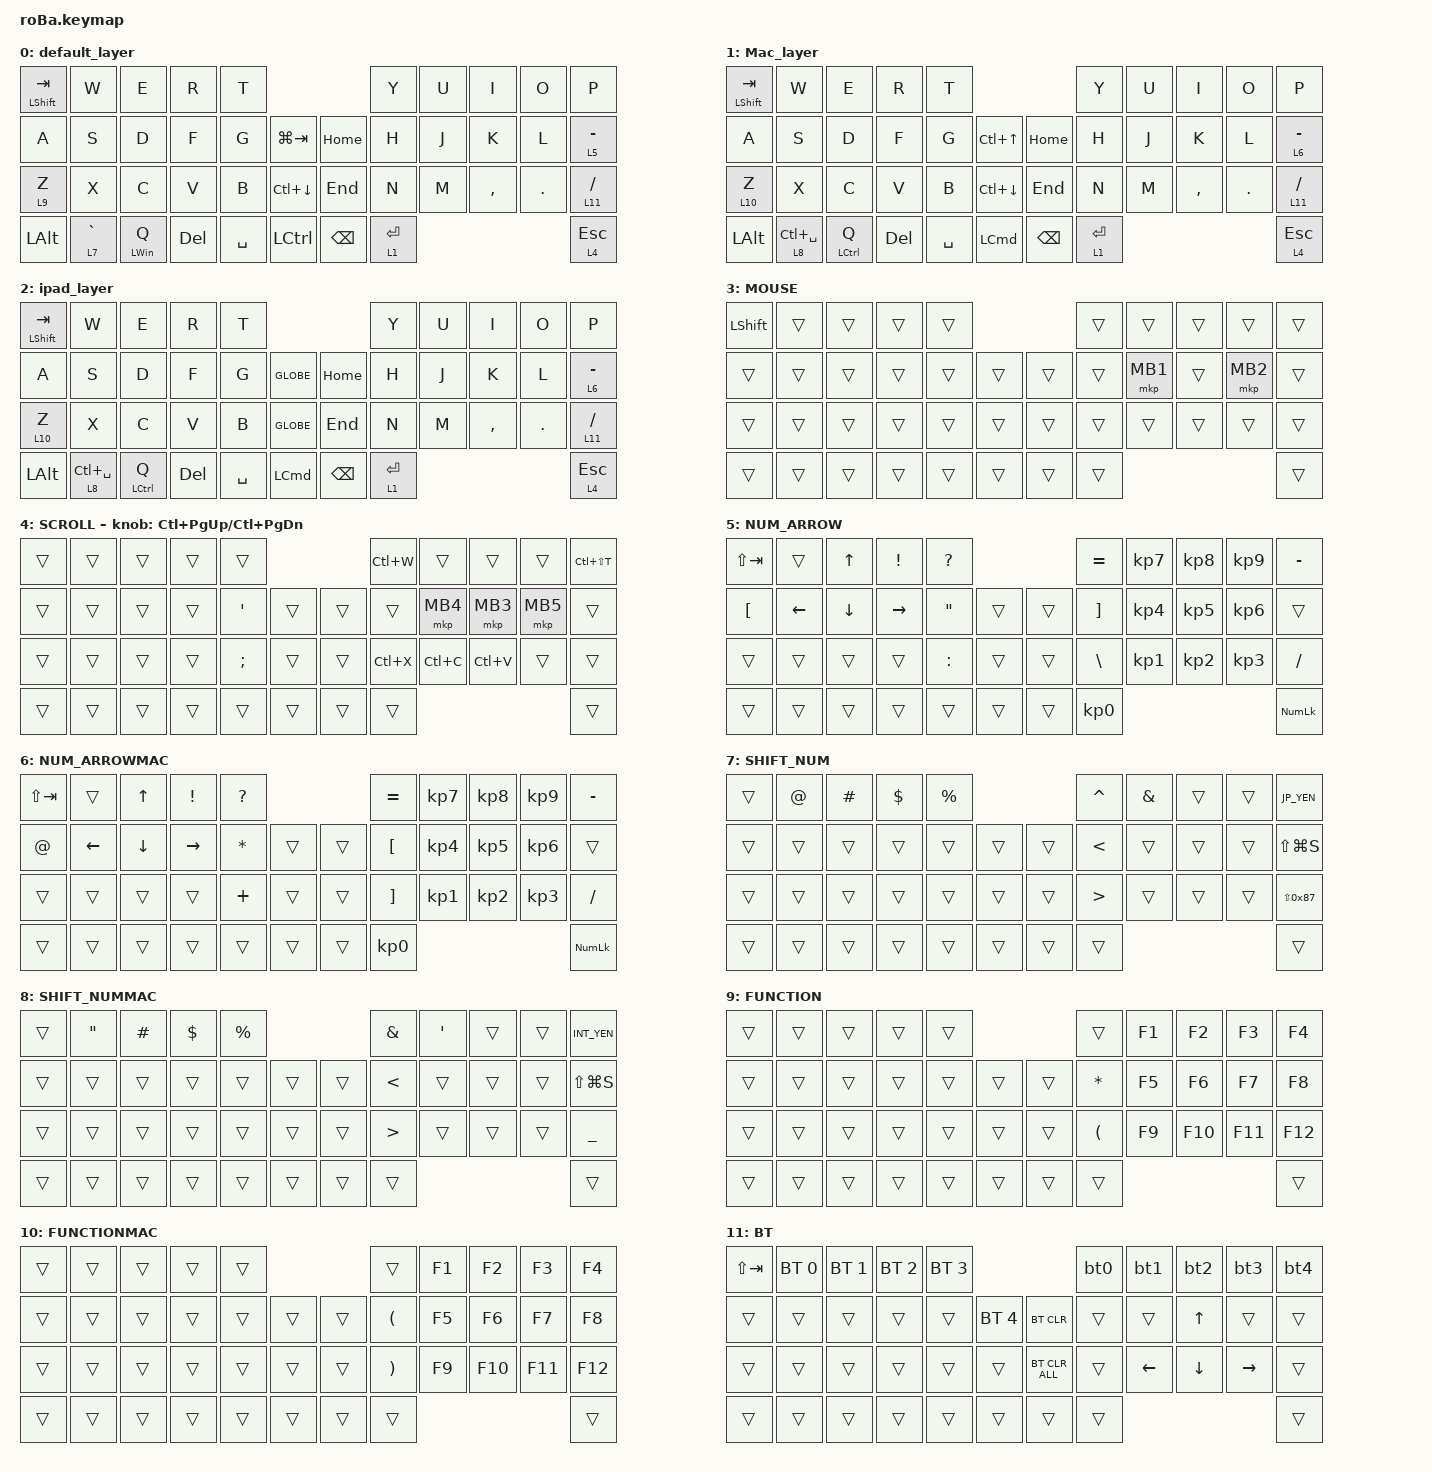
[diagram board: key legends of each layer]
#include <behaviors.dtsi>
#include <dt-bindings/zmk/bt.h>
#include <dt-bindings/zmk/keys.h>
#include <dt-bindings/zmk/pointing.h>

#define MOUSE 3
#define SCROLL 4
#define NUM 5

// OS設定を日本語キーボードのまま使用するための変換定義

#define JP_DQUOTE       AT                // "
#define JP_AMPERSAND    CARET             // &
#define JP_QUOTE        AMPERSAND         // '
#define JP_EQUAL        UNDER             // =
#define JP_CARET        EQUAL             // ^
#define JP_YEN          0x89              // ¥
#define JP_PLUS         COLON             // +
#define JP_TILDE        PLUS              // ~
#define JP_PIPE         LS(0x89)          // |
#define JP_AT           LEFT_BRACKET      // @
#define JP_COLON        SINGLE_QUOTE      // :
#define BOT_ASTERISK    DOUBLE_QUOTES     // *
#define JP_BACKQUOTE    LEFT_BRACE        // `
#define JP_UNDERBAR     LS(0x87)          // _
#define JP_LBRACKET     RIGHT_BRACKET     // [
#define JP_RBRACKET     BACKSLASH         // ]
#define JP_LPAREN       ASTERISK          // (
#define JP_RPAREN       LEFT_PARENTHESIS  // )
#define JP_LBRACE       RIGHT_BRACE       // {
#define JP_RBRACE       PIPE              // }
#define JP_KANA         LANGUAGE_1        // かな
#define JP_EISU         LANGUAGE_2        // 英数
#define JP_HANZEN       GRAVE             // 半角/全角

&mt {
    flavor = "balanced";
    quick-tap-ms = <0>;
};

/ {
    combos {
        compatible = "zmk,combos";

        tab {
            bindings = <&kp TAB>;
            key-positions = <11 12>;
        };

        shift_tab {
            bindings = <&kp LS(TAB)>;
            key-positions = <12 13>;
        };

        muhennkann {
            bindings = <&bt0 INT_MUHENKAN>;
            key-positions = <11 10>;
        };

        double_quotation {
            bindings = <&kp DOUBLE_QUOTES>;
            key-positions = <20 21>;
        };

        eq {
            bindings = <&kp EQUAL>;
            key-positions = <24 25>;
        };
    };

    macros {
        // Windows用

        bt0: bt0 {
            compatible = "zmk,behavior-macro";
            #binding-cells = <0>;
            bindings =
                <&tog_off 1 &tog_off 2>,
                <&macro_wait_time 200>,
                <&bt BT_SEL 0>,
                <&macro_wait_time 500>;
            label = "BT0";
        };

        // Mac用

        bt4: bt4 {
            compatible = "zmk,behavior-macro";
            #binding-cells = <0>;
            bindings =
                <&tog_off 1 &tog_off 2>,
                <&macro_wait_time 200>,
                <&bt BT_SEL 4>,
                <&macro_wait_time 500>,
                <&tog_on 1>;
            label = "BT4";
        };

        // iPad or iPhone用

        bt3: bt3 {
            compatible = "zmk,behavior-macro";
            #binding-cells = <0>;
            bindings =
                <&tog_off 1 &tog_off 2>,
                <&macro_wait_time 200>,
                <&bt BT_SEL 3>,
                <&macro_wait_time 500>,
                <&tog_on 2>;
            label = "BT3";
        };

        // Mac用

        bt2: bt2 {
            compatible = "zmk,behavior-macro";
            #binding-cells = <0>;
            bindings =
                <&tog_off 1 &tog_off 2>,
                <&macro_wait_time 200>,
                <&bt BT_SEL 2>,
                <&macro_wait_time 500>,
                <&tog_on 1>;
            label = "BT2";
        };

        // Windows用

        bt1: bt1 {
            compatible = "zmk,behavior-macro";
            #binding-cells = <0>;
            bindings =
                <&tog_off 1 &tog_off 2>,
                <&macro_wait_time 200>,
                <&bt BT_SEL 1>,
                <&macro_wait_time 500>;
            label = "BT1";
        };
    };

    behaviors {
        lt_to_layer_0: lt_to_layer_0 {
            compatible = "zmk,behavior-hold-tap";
            label = "LAYER_TAP_TO_0";
            bindings = <&mo>, <&bt0>;

            #binding-cells = <2>;
            tapping-term-ms = <200>;
        };

        scroll_up_down: behavior_sensor_rotate_mouse_wheel_up_down {
            compatible = "zmk,behavior-sensor-rotate";
            #sensor-binding-cells = <0>;
            bindings = <&msc SCRL_UP>, <&msc SCRL_DOWN>;

            tap-ms = <20>;
        };

        tog_on: toggle_layer_on_only {
            compatible = "zmk,behavior-toggle-layer";
            #binding-cells = <1>;
            display-name = "Toggle Layer On";
            toggle-mode = "on";
        };

        tog_off: toggle_layer_off_only {
            compatible = "zmk,behavior-toggle-layer";
            #binding-cells = <1>;
            display-name = "Toggle Layer Off";
            toggle-mode = "off";
        };
    };

    keymap {
        compatible = "zmk,keymap";

        default_layer {
            bindings = <
&mt LEFT_SHIFT TAB  &kp W            &kp E           &kp R       &kp T                                       &kp Y       &kp U  &kp I      &kp O    &kp P
&kp A               &kp S            &kp D           &kp F       &kp G      &kp LG(TAB)       &kp HOME       &kp H        &kp J  &kp K      &kp L    &lt 5 MINUS
&lt 9 Z             &kp X            &kp C           &kp V       &kp B      &kp LC(DOWN)      &kp END        &kp N        &kp M  &kp COMMA  &kp DOT  &lt 11 SLASH
&kp LALT            &lt 7 JP_HANZEN  &mt LEFT_WIN Q  &kp DELETE  &kp SPACE  &kp LCTRL         &kp BACKSPACE  &lt 1 ENTER                             &lt 4 ESC
            >;
        };

        Mac_layer {
            bindings = <
&mt LEFT_SHIFT TAB  &kp W            &kp E               &kp R       &kp T                                          &kp Y        &kp U  &kp I      &kp O    &kp P
&kp A               &kp S            &kp D               &kp F       &kp G      &kp LC(UP)            &kp HOME       &kp H        &kp J  &kp K      &kp L    &lt 6 MINUS
&lt 10 Z            &kp X            &kp C               &kp V       &kp B      &kp LC(DOWN)          &kp END        &kp N        &kp M  &kp COMMA  &kp DOT  &lt 11 SLASH
&kp LALT            &lt 8 LC(SPACE)  &mt LEFT_CONTROL Q  &kp DELETE  &kp SPACE  &kp LEFT_COMMAND      &kp BACKSPACE  &lt 1 ENTER                             &lt 4 ESC
            >;
        };

        ipad_layer {
            bindings = <
&mt LEFT_SHIFT TAB  &kp W            &kp E               &kp R       &kp T                                           &kp Y        &kp U  &kp I      &kp O    &kp P
&kp A               &kp S            &kp D               &kp F       &kp G      &kp GLOBE             &kp HOME       &kp H        &kp J  &kp K      &kp L    &lt 6 MINUS
&lt 10 Z            &kp X            &kp C               &kp V       &kp B      &kp GLOBE             &kp END        &kp N        &kp M  &kp COMMA  &kp DOT  &lt 11 SLASH
&kp LALT            &lt 8 LC(SPACE)  &mt LEFT_CONTROL Q  &kp DELETE  &kp SPACE  &kp LEFT_COMMAND      &kp BACKSPACE  &lt 1 ENTER                             &lt 4 ESC
            >;
        };

        MOUSE {
            bindings = <
&kp LEFT_SHIFT  &trans  &trans  &trans  &trans                      &trans  &trans    &trans  &trans    &trans
&trans          &trans  &trans  &trans  &trans  &trans      &trans  &trans  &mkp MB1  &trans  &mkp MB2  &trans
&trans          &trans  &trans  &trans  &trans  &trans      &trans  &trans  &trans    &trans  &trans    &trans
&trans          &trans  &trans  &trans  &trans  &trans      &trans  &trans                              &trans
            >;
        };

        SCROLL {
            bindings = <
&trans  &trans  &trans  &trans  &trans                             &kp LC(W)  &trans     &trans     &trans    &kp LC(LS(T))
&trans  &trans  &trans  &trans  &kp SQT        &trans      &trans  &trans     &mkp MB4   &mkp MB3   &mkp MB5  &trans
&trans  &trans  &trans  &trans  &kp SEMICOLON  &trans      &trans  &kp LC(X)  &kp LC(C)  &kp LC(V)  &trans    &trans
&trans  &trans  &trans  &trans  &trans         &trans      &trans  &trans                             &trans
            >;
            sensor-bindings = <&inc_dec_kp LC(PAGE_UP) LC(PAGE_DOWN)>;
        };

        NUM_ARROW {
            bindings = <
&kp LS(TAB)       &trans          &kp UP_ARROW    &kp EXCL   &kp QMARK                      &kp EQUAL          &kp KP_NUMBER_7  &kp KP_NUMBER_8  &kp KP_NUMBER_9  &kp MINUS
&kp LEFT_BRACKET  &kp LEFT_ARROW  &kp DOWN_ARROW  &kp RIGHT  &kp DQT    &trans      &trans  &kp RIGHT_BRACKET  &kp KP_NUMBER_4  &kp KP_NUMBER_5  &kp KP_NUMBER_6  &trans
&trans            &trans          &trans          &trans     &kp COLON  &trans      &trans  &kp BSLH           &kp KP_NUMBER_1  &kp KP_NUMBER_2  &kp KP_NUMBER_3  &kp SLASH
&trans            &trans          &trans          &trans     &trans     &trans      &trans  &kp KP_NUMBER_0                                                       &kp KP_NUM
            >;
        };

        NUM_ARROWMAC {
            bindings = <
&kp LS(TAB)  &trans          &kp UP_ARROW    &kp EXCL   &kp QMARK                         &kp EQUAL          &kp KP_NUMBER_7  &kp KP_NUMBER_8  &kp KP_NUMBER_9  &kp MINUS
&kp AT_SIGN  &kp LEFT_ARROW  &kp DOWN_ARROW  &kp RIGHT  &kp ASTERISK  &trans      &trans  &kp LEFT_BRACKET   &kp KP_NUMBER_4  &kp KP_NUMBER_5  &kp KP_NUMBER_6  &trans
&trans       &trans          &trans          &trans     &kp PLUS      &trans      &trans  &kp RIGHT_BRACKET  &kp KP_NUMBER_1  &kp KP_NUMBER_2  &kp KP_NUMBER_3  &kp SLASH
&trans       &trans          &trans          &trans     &trans        &trans      &trans  &kp KP_NUMBER_0                                                       &kp KP_NUM
            >;
        };

        SHIFT_NUM {
            bindings = <
&trans  &kp AT  &kp HASH  &kp DLLR  &kp PRCNT                      &kp CARET         &kp AMPS  &trans  &trans  &kp JP_YEN
&trans  &trans  &trans    &trans    &trans     &trans      &trans  &kp LESS_THAN     &trans    &trans  &trans  &kp LS(LG(S))
&trans  &trans  &trans    &trans    &trans     &trans      &trans  &kp GREATER_THAN  &trans    &trans  &trans  &kp JP_UNDERBAR
&trans  &trans  &trans    &trans    &trans     &trans      &trans  &trans                              &trans
            >;
        };

        SHIFT_NUMMAC {
            bindings = <
&trans  &kp DQT  &kp HASH  &kp DLLR  &kp PRCNT                      &kp AMPS          &kp SQT  &trans  &trans  &kp INT_YEN
&trans  &trans   &trans    &trans    &trans     &trans      &trans  &kp LESS_THAN     &trans   &trans  &trans  &kp LS(LG(S))
&trans  &trans   &trans    &trans    &trans     &trans      &trans  &kp GREATER_THAN  &trans   &trans  &trans  &kp UNDER
&trans  &trans   &trans    &trans    &trans     &trans      &trans  &trans                                      &trans
            >;
        };

        FUNCTION {
            bindings = <
&trans  &trans  &trans  &trans  &trans                      &trans    &kp F1  &kp F2   &kp F3   &kp F4
&trans  &trans  &trans  &trans  &trans  &trans      &trans  &kp STAR  &kp F5  &kp F6   &kp F7   &kp F8
&trans  &trans  &trans  &trans  &trans  &trans      &trans  &kp LPAR  &kp F9  &kp F10  &kp F11  &kp F12
&trans  &trans  &trans  &trans  &trans  &trans      &trans  &trans                              &trans
            >;
        };

        FUNCTIONMAC {
            bindings = <
&trans  &trans  &trans  &trans  &trans                      &trans    &kp F1  &kp F2   &kp F3   &kp F4
&trans  &trans  &trans  &trans  &trans  &trans      &trans  &kp LPAR  &kp F5  &kp F6   &kp F7   &kp F8
&trans  &trans  &trans  &trans  &trans  &trans      &trans  &kp RPAR  &kp F9  &kp F10  &kp F11  &kp F12
&trans  &trans  &trans  &trans  &trans  &trans      &trans  &trans                              &trans
            >;
        };

        BT {
            bindings = <
&kp LS(TAB)  &bt BT_SEL 0  &bt BT_SEL 1  &bt BT_SEL 2  &bt BT_SEL 3                                    &bt0    &bt1            &bt2            &bt3       &bt4
&trans       &trans        &trans        &trans        &trans        &bt BT_SEL 4      &bt BT_CLR      &trans  &trans          &kp UP_ARROW    &trans     &trans
&trans       &trans        &trans        &trans        &trans        &trans            &bt BT_CLR_ALL  &trans  &kp LEFT_ARROW  &kp DOWN_ARROW  &kp RIGHT  &trans
&trans       &trans        &trans        &trans        &trans        &trans            &trans          &trans                                             &trans
            >;
        };
    };
};
